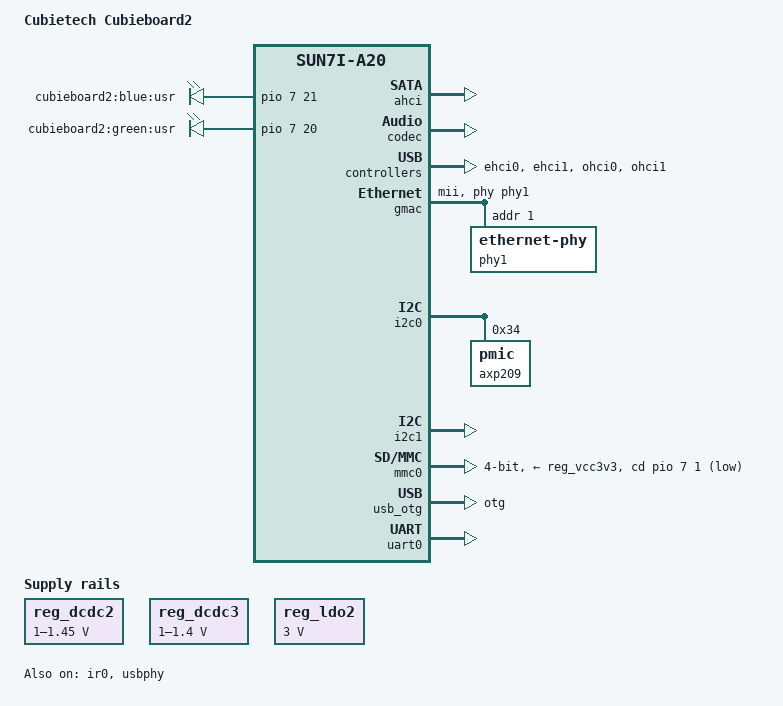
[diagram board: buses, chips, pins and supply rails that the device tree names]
/*
 * Copyright 2013 Maxime Ripard
 *
 * Maxime Ripard <maxime.ripard@free-electrons.com>
 *
 * This file is dual-licensed: you can use it either under the terms
 * of the GPL or the X11 license, at your option. Note that this dual
 * licensing only applies to this file, and not this project as a
 * whole.
 *
 *  a) This file is free software; you can redistribute it and/or
 *     modify it under the terms of the GNU General Public License as
 *     published by the Free Software Foundation; either version 2 of the
 *     License, or (at your option) any later version.
 *
 *     This file is distributed in the hope that it will be useful,
 *     but WITHOUT ANY WARRANTY; without even the implied warranty of
 *     MERCHANTABILITY or FITNESS FOR A PARTICULAR PURPOSE.  See the
 *     GNU General Public License for more details.
 *
 * Or, alternatively,
 *
 *  b) Permission is hereby granted, free of charge, to any person
 *     obtaining a copy of this software and associated documentation
 *     files (the "Software"), to deal in the Software without
 *     restriction, including without limitation the rights to use,
 *     copy, modify, merge, publish, distribute, sublicense, and/or
 *     sell copies of the Software, and to permit persons to whom the
 *     Software is furnished to do so, subject to the following
 *     conditions:
 *
 *     The above copyright notice and this permission notice shall be
 *     included in all copies or substantial portions of the Software.
 *
 *     THE SOFTWARE IS PROVIDED "AS IS", WITHOUT WARRANTY OF ANY KIND,
 *     EXPRESS OR IMPLIED, INCLUDING BUT NOT LIMITED TO THE WARRANTIES
 *     OF MERCHANTABILITY, FITNESS FOR A PARTICULAR PURPOSE AND
 *     NONINFRINGEMENT. IN NO EVENT SHALL THE AUTHORS OR COPYRIGHT
 *     HOLDERS BE LIABLE FOR ANY CLAIM, DAMAGES OR OTHER LIABILITY,
 *     WHETHER IN AN ACTION OF CONTRACT, TORT OR OTHERWISE, ARISING
 *     FROM, OUT OF OR IN CONNECTION WITH THE SOFTWARE OR THE USE OR
 *     OTHER DEALINGS IN THE SOFTWARE.
 */

/dts-v1/;
#include "sun7i-a20.dtsi"
#include "sunxi-common-regulators.dtsi"

#include <dt-bindings/gpio/gpio.h>
#include <dt-bindings/interrupt-controller/irq.h>
#include <dt-bindings/pinctrl/sun4i-a10.h>

/ {
	model = "Cubietech Cubieboard2";
	compatible = "cubietech,cubieboard2", "allwinner,sun7i-a20";

	aliases {
		serial0 = &uart0;
	};

	chosen {
		stdout-path = "serial0:115200n8";
	};

	leds {
		compatible = "gpio-leds";
		pinctrl-names = "default";
		pinctrl-0 = <&led_pins_cubieboard2>;

		blue {
			label = "cubieboard2:blue:usr";
			gpios = <&pio 7 21 GPIO_ACTIVE_HIGH>;
		};

		green {
			label = "cubieboard2:green:usr";
			gpios = <&pio 7 20 GPIO_ACTIVE_HIGH>;
		};
	};
};

&ahci {
	target-supply = <&reg_ahci_5v>;
	status = "okay";
};

&codec {
	status = "okay";
};

&cpu0 {
	cpu-supply = <&reg_dcdc2>;
};

&ehci0 {
	status = "okay";
};

&ehci1 {
	status = "okay";
};

&gmac {
	pinctrl-names = "default";
	pinctrl-0 = <&gmac_pins_mii_a>;
	phy = <&phy1>;
	phy-mode = "mii";
	status = "okay";

	phy1: ethernet-phy@1 {
		reg = <1>;
	};
};

&i2c0 {
	pinctrl-names = "default";
	pinctrl-0 = <&i2c0_pins_a>;
	status = "okay";

	axp209: pmic@34 {
		reg = <0x34>;
		interrupt-parent = <&nmi_intc>;
		interrupts = <0 IRQ_TYPE_LEVEL_LOW>;
	};
};

&i2c1 {
	pinctrl-names = "default";
	pinctrl-0 = <&i2c1_pins_a>;
	status = "okay";
};

&ir0 {
	pinctrl-names = "default";
	pinctrl-0 = <&ir0_rx_pins_a>;
	status = "okay";
};

&mmc0 {
	pinctrl-names = "default";
	pinctrl-0 = <&mmc0_pins_a>, <&mmc0_cd_pin_reference_design>;
	vmmc-supply = <&reg_vcc3v3>;
	bus-width = <4>;
	cd-gpios = <&pio 7 1 GPIO_ACTIVE_HIGH>; /* PH1 */
	cd-inverted;
	status = "okay";
};

&ohci0 {
	status = "okay";
};

&ohci1 {
	status = "okay";
};

&otg_sram {
	status = "okay";
};

&pio {
	led_pins_cubieboard2: led_pins@0 {
		allwinner,pins = "PH20", "PH21";
		allwinner,function = "gpio_out";
		allwinner,drive = <SUN4I_PINCTRL_10_MA>;
		allwinner,pull = <SUN4I_PINCTRL_NO_PULL>;
	};

	usb0_id_detect_pin: usb0_id_detect_pin@0 {
		allwinner,pins = "PH4";
		allwinner,function = "gpio_in";
		allwinner,drive = <SUN4I_PINCTRL_10_MA>;
		allwinner,pull = <SUN4I_PINCTRL_PULL_UP>;
	};
};

&reg_ahci_5v {
	status = "okay";
};

&usb_otg {
	dr_mode = "otg";
	status = "okay";
};

#include "axp209.dtsi"

&reg_dcdc2 {
	regulator-always-on;
	regulator-min-microvolt = <1000000>;
	regulator-max-microvolt = <1450000>;
	regulator-name = "vdd-cpu";
};

&reg_dcdc3 {
	regulator-always-on;
	regulator-min-microvolt = <1000000>;
	regulator-max-microvolt = <1400000>;
	regulator-name = "vdd-int-dll";
};

&reg_ldo1 {
	regulator-name = "vdd-rtc";
};

&reg_ldo2 {
	regulator-always-on;
	regulator-min-microvolt = <3000000>;
	regulator-max-microvolt = <3000000>;
	regulator-name = "avcc";
};

&reg_usb1_vbus {
	status = "okay";
};

&reg_usb2_vbus {
	status = "okay";
};

&uart0 {
	pinctrl-names = "default";
	pinctrl-0 = <&uart0_pins_a>;
	status = "okay";
};

&usbphy {
	pinctrl-names = "default";
	pinctrl-0 = <&usb0_id_detect_pin>;
	usb0_id_det-gpio = <&pio 7 4 GPIO_ACTIVE_HIGH>; /* PH4 */
	usb1_vbus-supply = <&reg_usb1_vbus>;
	usb2_vbus-supply = <&reg_usb2_vbus>;
	status = "okay";
};
